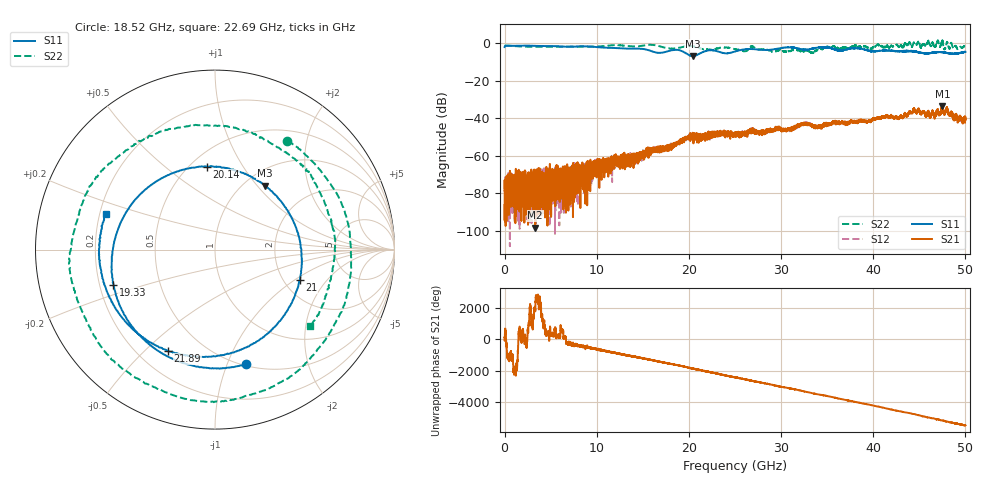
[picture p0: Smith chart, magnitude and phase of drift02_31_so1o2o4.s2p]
!Created with skrf (http://scikit-rf.org).
# Hz S RI R 50.0
!freq ReS11 ImS11 ReS21 ImS21 ReS12 ImS12 ReS22 ImS22
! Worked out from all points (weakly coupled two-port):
!   10000 points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, 5.3 MHz to 50 GHz, reference 50 ohm
!   highest |S21| = -33.66 dB at 47.5 GHz (marker M1); lowest = -98.3 dB at 3.325 GHz (marker M2)
!   lowest |S11| = -6.9 dB at 20.45 GHz (marker M3), VSWR 2.64, Z = 61.3 + j54.7 ohm
!   |S11| at or under -10 dB: nowhere
!   |S22| runs from -5.3 to 1.4 dB; largest |S21 - S12| = 0.0028
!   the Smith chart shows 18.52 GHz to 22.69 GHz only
!   S11 on the Smith chart (normalised r, x): 18.52 GHz: 0.51, -1.17; 19.33 GHz: 0.26, -0.16; 20.14 GHz: 0.60, +0.71; 21 GHz: 2.43, -1.11; 21.89 GHz: 0.32, -0.59; 22.69 GHz: 0.23, +0.15
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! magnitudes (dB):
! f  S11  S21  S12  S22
! 5.3 MHz  -2.1  -86.3  -72.8  -1.3
! 775.3 MHz  -1.5  -71.0  -84.9  -1.5
! 3.325 GHz  -1.5  -98.3  -81.7  -1.9
! 3.93 GHz  -1.5  -70.3  -77.4  -2.0
! 4.345 GHz  -1.6  -74.6  -70.8  -2.0
! 6.325 GHz  -1.8  -65.8  -68.7  -1.9
! 8.34 GHz  -1.7  -68.5  -68.7  -1.9
! 16.67 GHz  -5.2  -56.6  -55.9  -1.5
! 18.52 GHz  -3.6  -54.3  -54.3  -2.7
! 19.33 GHz  -4.5  -51.4  -52.1  -2.1
! 20.14 GHz  -6.6  -48.1  -49.5  -1.5
! 20.45 GHz  -6.9  -49.5  -49.9  -1.8
! 21 GHz  -6.0  -50.1  -48.9  -2.3
! 21.89 GHz  -4.1  -49.9  -49.6  -3.5
! 22.69 GHz  -3.9  -48.5  -49.3  -3.4
! 25.01 GHz  -4.5  -48.2  -48.6  -3.2
! 26.9 GHz  -3.2  -46.6  -46.7  -1.7
! 33.34 GHz  -3.0  -43.9  -43.3  -5.2
! 34.89 GHz  -2.2  -43.6  -43.8  -2.3
! 41.67 GHz  -4.0  -39.4  -39.4  -2.2
! 47.5 GHz  -4.9  -33.7  -34.1  1.1
! 50 GHz  -4.7  -40.7  -40.3  -1.5
